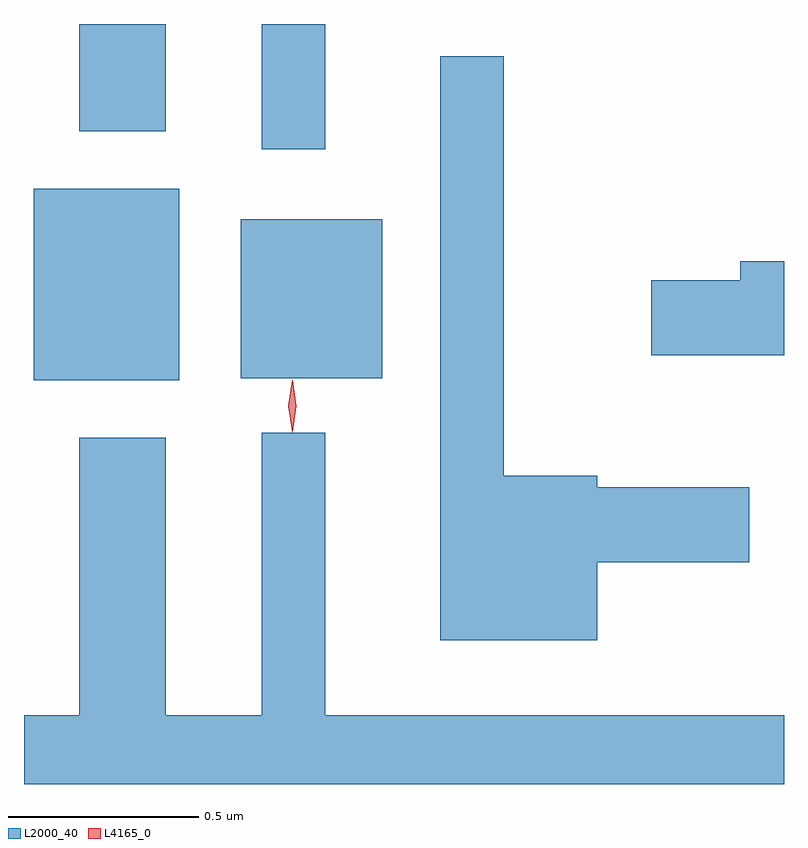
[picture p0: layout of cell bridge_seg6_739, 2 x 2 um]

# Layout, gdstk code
import gdstk
lib = gdstk.Library(unit=1e-6, precision=1e-09)
def R(c, l, rs):  # rectangles x0, y0, x1, y1
    for r in rs: c.add(gdstk.rectangle(r[:2], r[2:], *l))
def P(c, l, *ps):  # polygons
    for p in ps: c.add(gdstk.Polygon(p, *l))
L2000_40 = (2000, 40)
L4165_0 = (4165, 0)

bridge_seg6_739 = lib.new_cell('bridge_seg6_739')
R(bridge_seg6_739, L2000_40, [(243.241,1542.306,243.624,1542.809), (243.786,1542.311,244.159,1542.729), (243.841,1542.913,244.009,1543.243), (243.361,1542.961,243.589,1543.243)])
P(bridge_seg6_739, L2000_40, [(244.724,1541.826),(245.124,1541.826),(245.124,1542.024),(244.724,1542.024),(244.724,1542.054),(244.479,1542.054),(244.479,1543.158),(244.311,1543.158),(244.311,1541.621),(244.724,1541.621)],
  [(245.216,1542.619),(245.101,1542.619),(245.101,1542.569),(244.866,1542.569),(244.866,1542.371),(245.216,1542.371)],
  [(243.216,1541.243),(245.216,1541.243),(245.216,1541.424),(244.009,1541.424),(244.009,1542.168),(243.841,1542.168),(243.841,1541.424),(243.589,1541.424),(243.589,1542.154),(243.361,1542.154),(243.361,1541.424),(243.216,1541.424)])
P(bridge_seg6_739, L4165_0, [(243.922,1542.169),(243.922,1542.17),(243.912,1542.238),(243.922,1542.306),(243.922,1542.306),(243.923,1542.306),(243.932,1542.238),(243.923,1542.17)],
  [(243.922,1542.173),(243.922,1542.173),(243.912,1542.237),(243.922,1542.301),(243.922,1542.302),(243.923,1542.301),(243.932,1542.237),(243.923,1542.173)])

lib.write_gds('bridge_seg6_739.gds')
